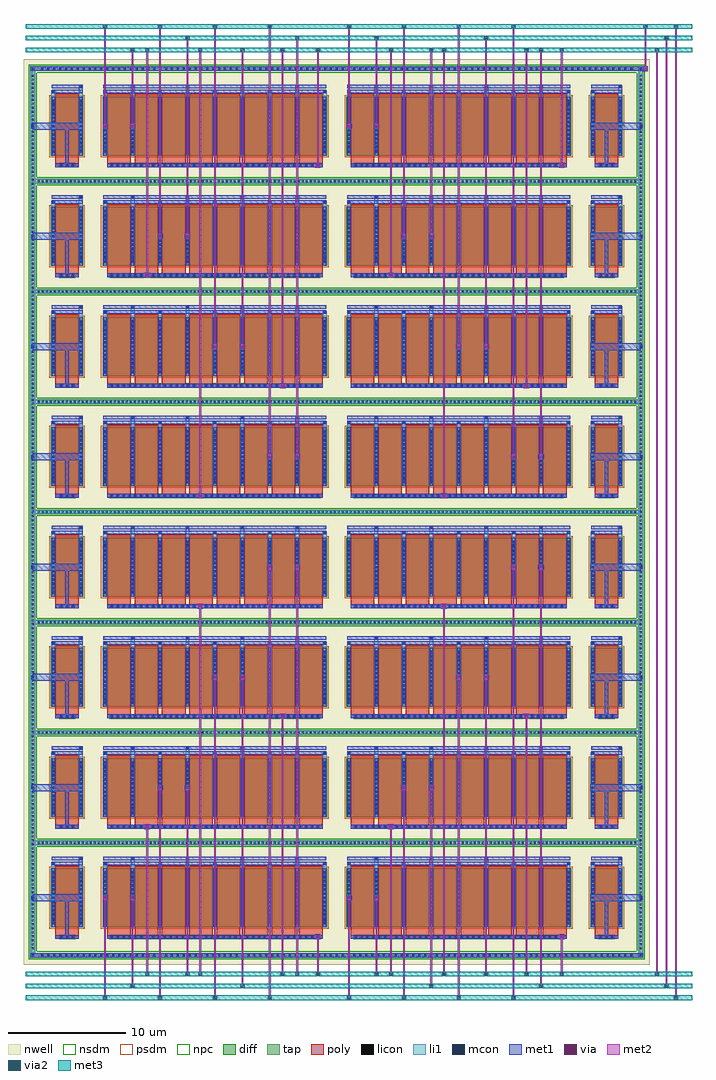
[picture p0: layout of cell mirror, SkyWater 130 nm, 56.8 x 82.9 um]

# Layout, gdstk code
import gdstk
lib = gdstk.Library(unit=1e-6, precision=5e-09)
def R(c, l, rs):  # rectangles x0, y0, x1, y1
    for r in rs: c.add(gdstk.rectangle(r[:2], r[2:], *l))
def A(c, l, x, y, w, h, nx, ny, dx, dy):  # array of equal rectangles
    R(c, l, [(x+i*dx, y+j*dy, x+i*dx+w, y+j*dy+h) for i in range(nx) for j in range(ny)])
def P(c, l, *ps):  # polygons
    for p in ps: c.add(gdstk.Polygon(p, *l))
nwell = (64, 20)
diff = (65, 20)
tap = (65, 44)
poly = (66, 20)
licon = (66, 44)
li1 = (67, 20)
mcon = (67, 44)
met1 = (68, 20)
via = (68, 44)
met2 = (69, 20)
via2 = (69, 44)
met3 = (70, 20)
nsdm = (93, 44)
psdm = (94, 20)
npc = (95, 20)

unnamed_e09b1c34 = lib.new_cell('Unnamed_e09b1c34')
R(unnamed_e09b1c34, nwell, [(-9.855,-3.68,9.855,3.685)])
R(unnamed_e09b1c34, diff, [(-9.545,-2.5,9.545,2.5)])
A(unnamed_e09b1c34, poly, -8.915, -3.48, 0.33, 0.33, 36, 1, 0.5, 0)
A(unnamed_e09b1c34, poly, -9.155, -3.15, 2, 0.4, 8, 1, 2.33, 0)
A(unnamed_e09b1c34, poly, -9.155, -2.75, 2, 5.5, 8, 1, 2.33, 0)
R(unnamed_e09b1c34, poly, [(-9.155,-3.48,9.155,-3.15)])
A(unnamed_e09b1c34, licon, -8.835, -3.4, 0.17, 0.17, 36, 1, 0.5, 0)
A(unnamed_e09b1c34, licon, -9.405, -2.125, 0.17, 0.17, 9, 13, 2.33, 0.34)
A(unnamed_e09b1c34, li1, -8.915, -3.48, 0.33, 0.33, 36, 1, 0.5, 0)
A(unnamed_e09b1c34, li1, -9.485, -2.5, 0.33, 5, 9, 1, 2.33, 0)
A(unnamed_e09b1c34, li1, -9.405, -2.245, 0.17, 0.17, 9, 13, 2.33, 0.36)
A(unnamed_e09b1c34, li1, -9.405, -2.245, 0.17, 4.49, 9, 1, 2.33, 0)
A(unnamed_e09b1c34, li1, -9.485, -2.205, 0.33, 0.33, 9, 13, 2.33, 0.34)
A(unnamed_e09b1c34, li1, -9.485, 2.5, 0.33, 0.515, 5, 1, 4.66, 0)
A(unnamed_e09b1c34, li1, -7.155, 2.5, 0.33, 0.945, 4, 1, 4.66, 0)
A(unnamed_e09b1c34, li1, -9.405, 2.845, 0.17, 0.17, 5, 1, 4.66, 0)
A(unnamed_e09b1c34, li1, -7.075, 3.275, 0.17, 0.17, 4, 1, 4.66, 0)
A(unnamed_e09b1c34, mcon, -8.835, -3.4, 0.17, 0.17, 36, 1, 0.5, 0)
A(unnamed_e09b1c34, mcon, -9.405, -2.245, 0.17, 0.17, 9, 13, 2.33, 0.36)
A(unnamed_e09b1c34, mcon, -9.405, 2.845, 0.17, 0.17, 5, 1, 4.66, 0)
A(unnamed_e09b1c34, mcon, -7.075, 3.275, 0.17, 0.17, 4, 1, 4.66, 0)
A(unnamed_e09b1c34, met1, -8.895, -3.46, 0.29, 0.29, 36, 1, 0.5, 0)
A(unnamed_e09b1c34, met1, -9.465, -2.5, 0.29, 5, 9, 1, 2.33, 0)
A(unnamed_e09b1c34, met1, -9.465, -2.305, 0.29, 0.29, 9, 13, 2.33, 0.36)
A(unnamed_e09b1c34, met1, -9.465, 2.785, 0.29, 0.29, 5, 1, 4.66, 0)
A(unnamed_e09b1c34, met1, -7.135, 3.215, 0.29, 0.29, 4, 1, 4.66, 0)
R(unnamed_e09b1c34, met1, [(-9.155,-3.48,9.155,-3.15), (-9.465,2.785,9.465,3.075), (-9.465,3.215,9.465,3.505)])
R(unnamed_e09b1c34, psdm, [(-9.675,-2.63,9.675,2.63)])
A(unnamed_e09b1c34, npc, -8.935, -3.5, 0.37, 0.37, 36, 1, 0.5, 0)
R(unnamed_e09b1c34, npc, [(-8.935,-3.5,-8.065,-3.13), (-8.935,-3.5,-8.065,-3.13), (-8.435,-3.5,-7.565,-3.13), (-8.435,-3.5,-7.565,-3.13), (-7.935,-3.5,-7.065,-3.13), (-7.935,-3.5,-7.065,-3.13), (-7.435,-3.5,-6.565,-3.13), (-7.435,-3.5,-6.565,-3.13), (-6.935,-3.5,-6.065,-3.13), (-6.935,-3.5,-6.065,-3.13), (-6.435,-3.5,-5.565,-3.13), (-6.435,-3.5,-5.565,-3.13), (-5.935,-3.5,-5.065,-3.13), (-5.935,-3.5,-5.065,-3.13), (-5.435,-3.5,-4.565,-3.13), (-5.435,-3.5,-4.565,-3.13), (-4.935,-3.5,-4.065,-3.13), (-4.935,-3.5,-4.065,-3.13), (-4.435,-3.5,-3.565,-3.13), (-4.435,-3.5,-3.565,-3.13), (-3.935,-3.5,-3.065,-3.13), (-3.935,-3.5,-3.065,-3.13), (-3.435,-3.5,-2.565,-3.13), (-3.435,-3.5,-2.565,-3.13), (-2.935,-3.5,-2.065,-3.13), (-2.935,-3.5,-2.065,-3.13), (-2.435,-3.5,-1.565,-3.13), (-2.435,-3.5,-1.565,-3.13), (-1.935,-3.5,-1.065,-3.13), (-1.935,-3.5,-1.065,-3.13), (-1.435,-3.5,-0.565,-3.13), (-1.435,-3.5,-0.565,-3.13), (-0.935,-3.5,-0.065,-3.13), (-0.935,-3.5,-0.065,-3.13), (-0.435,-3.5,0.435,-3.13), (-0.435,-3.5,0.435,-3.13), (0.065,-3.5,0.935,-3.13), (0.065,-3.5,0.935,-3.13), (0.565,-3.5,1.435,-3.13), (0.565,-3.5,1.435,-3.13), (1.065,-3.5,1.935,-3.13), (1.065,-3.5,1.935,-3.13), (1.565,-3.5,2.435,-3.13), (1.565,-3.5,2.435,-3.13), (2.065,-3.5,2.935,-3.13), (2.065,-3.5,2.935,-3.13), (2.565,-3.5,3.435,-3.13), (2.565,-3.5,3.435,-3.13), (3.065,-3.5,3.935,-3.13), (3.065,-3.5,3.935,-3.13), (3.565,-3.5,4.435,-3.13), (3.565,-3.5,4.435,-3.13), (4.065,-3.5,4.935,-3.13), (4.065,-3.5,4.935,-3.13), (4.565,-3.5,5.435,-3.13), (4.565,-3.5,5.435,-3.13), (5.065,-3.5,5.935,-3.13), (5.065,-3.5,5.935,-3.13), (5.565,-3.5,6.435,-3.13), (5.565,-3.5,6.435,-3.13), (6.065,-3.5,6.935,-3.13), (6.065,-3.5,6.935,-3.13), (6.565,-3.5,7.435,-3.13), (6.565,-3.5,7.435,-3.13), (7.065,-3.5,7.935,-3.13), (7.065,-3.5,7.935,-3.13), (7.565,-3.5,8.435,-3.13), (7.565,-3.5,8.435,-3.13), (8.065,-3.5,8.935,-3.13), (8.065,-3.5,8.935,-3.13)])

unnamed_fc9d1d9a = lib.new_cell('Unnamed_fc9d1d9a')
R(unnamed_fc9d1d9a, nwell, [(-1.7,-3.68,1.7,3.685)])
R(unnamed_fc9d1d9a, diff, [(-1.39,-2.5,1.39,2.5)])
A(unnamed_fc9d1d9a, poly, -0.665, -3.48, 0.33, 0.33, 3, 1, 0.5, 0)
R(unnamed_fc9d1d9a, poly, [(-1,-3.48,1,-3.15), (-1,-3.15,1,-2.75), (-1,-2.75,1,2.75)])
A(unnamed_fc9d1d9a, licon, -0.585, -3.4, 0.17, 0.17, 3, 1, 0.5, 0)
A(unnamed_fc9d1d9a, licon, -1.25, -2.125, 0.17, 0.17, 1, 13, 0, 0.34)
A(unnamed_fc9d1d9a, licon, 1.08, -2.125, 0.17, 0.17, 1, 13, 0, 0.34)
A(unnamed_fc9d1d9a, li1, -0.665, -3.48, 0.33, 0.33, 3, 1, 0.5, 0)
A(unnamed_fc9d1d9a, li1, -1.25, -2.245, 0.17, 0.17, 1, 13, 0, 0.36)
A(unnamed_fc9d1d9a, li1, 1.08, -2.245, 0.17, 0.17, 1, 13, 0, 0.36)
A(unnamed_fc9d1d9a, li1, -1.33, -2.205, 0.33, 0.33, 1, 13, 0, 0.34)
A(unnamed_fc9d1d9a, li1, 1, -2.205, 0.33, 0.33, 1, 13, 0, 0.34)
R(unnamed_fc9d1d9a, li1, [(-1.33,-2.5,-1,2.5), (1,-2.5,1.33,2.5), (-1.25,-2.245,-1.08,2.245), (1.08,-2.245,1.25,2.245), (-1.33,2.5,-1,3.015), (1,2.5,1.33,3.445), (-1.25,2.845,-1.08,3.015), (1.08,3.275,1.25,3.445)])
A(unnamed_fc9d1d9a, mcon, -0.585, -3.4, 0.17, 0.17, 3, 1, 0.5, 0)
A(unnamed_fc9d1d9a, mcon, -1.25, -2.245, 0.17, 0.17, 1, 13, 0, 0.36)
A(unnamed_fc9d1d9a, mcon, 1.08, -2.245, 0.17, 0.17, 1, 13, 0, 0.36)
R(unnamed_fc9d1d9a, mcon, [(-1.25,2.845,-1.08,3.015), (1.08,3.275,1.25,3.445)])
A(unnamed_fc9d1d9a, met1, -0.645, -3.46, 0.29, 0.29, 3, 1, 0.5, 0)
A(unnamed_fc9d1d9a, met1, -1.31, -2.305, 0.29, 0.29, 1, 13, 0, 0.36)
A(unnamed_fc9d1d9a, met1, 1.02, -2.305, 0.29, 0.29, 1, 13, 0, 0.36)
R(unnamed_fc9d1d9a, met1, [(-1,-3.48,1,-3.15), (-1.31,-2.5,-1.02,2.5), (1.02,-2.5,1.31,2.5), (-1.31,2.785,-1.02,3.075), (-1.31,2.785,1.31,3.075), (-1.31,3.215,1.31,3.505), (1.02,3.215,1.31,3.505)])
R(unnamed_fc9d1d9a, psdm, [(-1.52,-2.63,1.52,2.63)])
A(unnamed_fc9d1d9a, npc, -0.685, -3.5, 0.37, 0.37, 3, 1, 0.5, 0)
R(unnamed_fc9d1d9a, npc, [(-0.685,-3.5,0.185,-3.13), (-0.685,-3.5,0.185,-3.13), (-0.185,-3.5,0.685,-3.13), (-0.185,-3.5,0.685,-3.13)])

unnamed_3b2aca07_1 = lib.new_cell('Unnamed_3b2aca07$1')
R(unnamed_3b2aca07_1, nwell, [(-26.2,-38.05,26.2,38.05)])
A(unnamed_3b2aca07_1, diff, -25.205, -37.87, 0.41, 0.41, 101, 2, 0.5, 75.33)
A(unnamed_3b2aca07_1, diff, -26.02, -37.265, 0.41, 0.41, 1, 219, 0, 0.34)
A(unnamed_3b2aca07_1, diff, 25.61, -37.265, 0.41, 0.41, 1, 219, 0, 0.34)
R(unnamed_3b2aca07_1, diff, [(-25.205,-37.87,25.205,-37.46), (-26.02,-37.265,-25.61,37.265), (25.61,-37.265,26.02,37.265), (-25.205,37.46,25.205,37.87)])
P(unnamed_3b2aca07_1, diff, [(26.02,37.87),(-26.02,37.87),(-26.02,-37.46),(-25.61,-37.46),(-25.61,37.46),(25.61,37.46),(25.61,-37.46),(-25.61,-37.46),(-26.02,-37.46),(-26.02,-37.87),(26.02,-37.87)])
A(unnamed_3b2aca07_1, licon, -25.085, -37.75, 0.17, 0.17, 101, 2, 0.5, 75.33)
A(unnamed_3b2aca07_1, licon, -25.9, -37.145, 0.17, 0.17, 1, 219, 0, 0.34)
A(unnamed_3b2aca07_1, licon, 25.73, -37.145, 0.17, 0.17, 1, 219, 0, 0.34)
A(unnamed_3b2aca07_1, li1, -25.165, -37.83, 0.33, 0.33, 101, 2, 0.5, 75.33)
A(unnamed_3b2aca07_1, li1, -25.98, -37.225, 0.33, 0.33, 1, 219, 0, 0.34)
A(unnamed_3b2aca07_1, li1, 25.65, -37.225, 0.33, 0.33, 1, 219, 0, 0.34)
R(unnamed_3b2aca07_1, li1, [(-26.02,-37.87,-25.61,-37.46), (25.61,-37.87,26.02,-37.46), (-25.165,-37.83,25.165,-37.5), (-25.9,-37.75,-25.73,-37.58), (-25.9,-37.75,-25.73,-37.58), (25.73,-37.75,25.9,-37.58), (25.73,-37.75,25.9,-37.58), (-26.02,-37.46,-25.61,37.46), (25.61,-37.46,26.02,37.46), (-26.02,37.46,-25.61,37.87), (25.61,37.46,26.02,37.87), (-25.165,37.5,25.165,37.83), (-25.9,37.58,-25.73,37.75), (-25.9,37.58,-25.73,37.75), (25.73,37.58,25.9,37.75), (25.73,37.58,25.9,37.75)])
A(unnamed_3b2aca07_1, mcon, -25.085, -37.75, 0.17, 0.17, 101, 2, 0.5, 75.33)
R(unnamed_3b2aca07_1, mcon, [(-25.9,-37.75,-25.73,-37.58), (25.73,-37.75,25.9,-37.58), (-25.9,37.58,-25.73,37.75), (25.73,37.58,25.9,37.75)])
A(unnamed_3b2aca07_1, met1, -25.145, -37.81, 0.29, 0.29, 101, 2, 0.5, 75.33)
R(unnamed_3b2aca07_1, met1, [(-26.02,-37.87,-25.61,-37.46), (-26.02,-37.87,-25.61,-37.46), (-25.61,-37.87,25.61,-37.46), (25.61,-37.87,26.02,-37.46), (25.61,-37.87,26.02,-37.46), (-25.96,-37.81,-25.67,-37.52), (25.67,-37.81,25.96,-37.52), (-26.02,37.46,-25.61,37.87), (-26.02,37.46,-25.61,37.87), (-25.61,37.46,25.61,37.87), (25.61,37.46,26.02,37.87), (25.61,37.46,26.02,37.87), (-25.96,37.52,-25.67,37.81), (25.67,37.52,25.96,37.81)])
P(unnamed_3b2aca07_1, nsdm, [(26.15,38),(-26.15,38),(-26.15,-37.33),(-25.48,-37.33),(-25.48,37.33),(25.48,37.33),(25.48,-37.33),(-25.48,-37.33),(-26.15,-37.33),(-26.15,-38),(26.15,-38)])

via_stack_9ce972bd_8 = lib.new_cell('via_stack_9ce972bd$8')
R(via_stack_9ce972bd_8, li1, [(-0.085,-0.085,0.085,0.085)])
R(via_stack_9ce972bd_8, mcon, [(-0.085,-0.085,0.085,0.085)])
R(via_stack_9ce972bd_8, met1, [(-0.145,-0.145,0.145,0.145)])

via_stack_9ce972bd_9 = lib.new_cell('via_stack_9ce972bd$9')
R(via_stack_9ce972bd_9, li1, [(-0.085,-0.085,0.085,0.085)])
R(via_stack_9ce972bd_9, mcon, [(-0.085,-0.085,0.085,0.085)])
R(via_stack_9ce972bd_9, met1, [(-0.145,-0.145,0.145,0.145)])

via_stack_9ce972bd_10 = lib.new_cell('via_stack_9ce972bd$10')
R(via_stack_9ce972bd_10, li1, [(-0.085,-0.085,0.085,0.085)])
R(via_stack_9ce972bd_10, mcon, [(-0.085,-0.085,0.085,0.085)])
R(via_stack_9ce972bd_10, met1, [(-0.145,-0.145,0.145,0.145)])

via_stack_9ce972bd_11 = lib.new_cell('via_stack_9ce972bd$11')
R(via_stack_9ce972bd_11, li1, [(-0.085,-0.085,0.085,0.085)])
R(via_stack_9ce972bd_11, mcon, [(-0.085,-0.085,0.085,0.085)])
R(via_stack_9ce972bd_11, met1, [(-0.145,-0.145,0.145,0.145)])

via_stack_9ce972bd_12 = lib.new_cell('via_stack_9ce972bd$12')
R(via_stack_9ce972bd_12, li1, [(-0.085,-0.085,0.085,0.085)])
R(via_stack_9ce972bd_12, mcon, [(-0.085,-0.085,0.085,0.085)])
R(via_stack_9ce972bd_12, met1, [(-0.145,-0.145,0.145,0.145)])

via_stack_9ce972bd_13 = lib.new_cell('via_stack_9ce972bd$13')
R(via_stack_9ce972bd_13, li1, [(-0.085,-0.085,0.085,0.085)])
R(via_stack_9ce972bd_13, mcon, [(-0.085,-0.085,0.085,0.085)])
R(via_stack_9ce972bd_13, met1, [(-0.145,-0.145,0.145,0.145)])

via_stack_9ce972bd_14 = lib.new_cell('via_stack_9ce972bd$14')
R(via_stack_9ce972bd_14, li1, [(-0.085,-0.085,0.085,0.085)])
R(via_stack_9ce972bd_14, mcon, [(-0.085,-0.085,0.085,0.085)])
R(via_stack_9ce972bd_14, met1, [(-0.145,-0.145,0.145,0.145)])

via_stack_9ce972bd_15 = lib.new_cell('via_stack_9ce972bd$15')
R(via_stack_9ce972bd_15, li1, [(-0.085,-0.085,0.085,0.085)])
R(via_stack_9ce972bd_15, mcon, [(-0.085,-0.085,0.085,0.085)])
R(via_stack_9ce972bd_15, met1, [(-0.145,-0.145,0.145,0.145)])

via_stack_9ce972bd_16 = lib.new_cell('via_stack_9ce972bd$16')
R(via_stack_9ce972bd_16, li1, [(-0.085,-0.085,0.085,0.085)])
R(via_stack_9ce972bd_16, mcon, [(-0.085,-0.085,0.085,0.085)])
R(via_stack_9ce972bd_16, met1, [(-0.145,-0.145,0.145,0.145)])

via_stack_9ce972bd_17 = lib.new_cell('via_stack_9ce972bd$17')
R(via_stack_9ce972bd_17, li1, [(-0.085,-0.085,0.085,0.085)])
R(via_stack_9ce972bd_17, mcon, [(-0.085,-0.085,0.085,0.085)])
R(via_stack_9ce972bd_17, met1, [(-0.145,-0.145,0.145,0.145)])

via_stack_9ce972bd_18 = lib.new_cell('via_stack_9ce972bd$18')
R(via_stack_9ce972bd_18, li1, [(-0.085,-0.085,0.085,0.085)])
R(via_stack_9ce972bd_18, mcon, [(-0.085,-0.085,0.085,0.085)])
R(via_stack_9ce972bd_18, met1, [(-0.145,-0.145,0.145,0.145)])

via_stack_9ce972bd_19 = lib.new_cell('via_stack_9ce972bd$19')
R(via_stack_9ce972bd_19, li1, [(-0.085,-0.085,0.085,0.085)])
R(via_stack_9ce972bd_19, mcon, [(-0.085,-0.085,0.085,0.085)])
R(via_stack_9ce972bd_19, met1, [(-0.145,-0.145,0.145,0.145)])

via_stack_9ce972bd_20 = lib.new_cell('via_stack_9ce972bd$20')
R(via_stack_9ce972bd_20, li1, [(-0.085,-0.085,0.085,0.085)])
R(via_stack_9ce972bd_20, mcon, [(-0.085,-0.085,0.085,0.085)])
R(via_stack_9ce972bd_20, met1, [(-0.145,-0.145,0.145,0.145)])

via_stack_9ce972bd_21 = lib.new_cell('via_stack_9ce972bd$21')
R(via_stack_9ce972bd_21, li1, [(-0.085,-0.085,0.085,0.085)])
R(via_stack_9ce972bd_21, mcon, [(-0.085,-0.085,0.085,0.085)])
R(via_stack_9ce972bd_21, met1, [(-0.145,-0.145,0.145,0.145)])

via_stack_9ce972bd_22 = lib.new_cell('via_stack_9ce972bd$22')
R(via_stack_9ce972bd_22, li1, [(-0.085,-0.085,0.085,0.085)])
R(via_stack_9ce972bd_22, mcon, [(-0.085,-0.085,0.085,0.085)])
R(via_stack_9ce972bd_22, met1, [(-0.145,-0.145,0.145,0.145)])

via_stack_9ce972bd_23 = lib.new_cell('via_stack_9ce972bd$23')
R(via_stack_9ce972bd_23, li1, [(-0.085,-0.085,0.085,0.085)])
R(via_stack_9ce972bd_23, mcon, [(-0.085,-0.085,0.085,0.085)])
R(via_stack_9ce972bd_23, met1, [(-0.145,-0.145,0.145,0.145)])

via_stack_22ee024c = lib.new_cell('via_stack_22ee024c')
R(via_stack_22ee024c, met1, [(-0.215,-0.215,0.215,0.215)])
R(via_stack_22ee024c, via, [(-0.075,-0.075,0.075,0.075)])
R(via_stack_22ee024c, met2, [(-0.165,-0.165,0.165,0.165)])

via_stack_22ee024c_1 = lib.new_cell('via_stack_22ee024c$1')
R(via_stack_22ee024c_1, met1, [(-0.215,-0.215,0.215,0.215)])
R(via_stack_22ee024c_1, via, [(-0.075,-0.075,0.075,0.075)])
R(via_stack_22ee024c_1, met2, [(-0.165,-0.165,0.165,0.165)])

via_stack_22ee024c_2 = lib.new_cell('via_stack_22ee024c$2')
R(via_stack_22ee024c_2, met1, [(-0.215,-0.215,0.215,0.215)])
R(via_stack_22ee024c_2, via, [(-0.075,-0.075,0.075,0.075)])
R(via_stack_22ee024c_2, met2, [(-0.165,-0.165,0.165,0.165)])

via_stack_22ee024c_3 = lib.new_cell('via_stack_22ee024c$3')
R(via_stack_22ee024c_3, met1, [(-0.215,-0.215,0.215,0.215)])
R(via_stack_22ee024c_3, via, [(-0.075,-0.075,0.075,0.075)])
R(via_stack_22ee024c_3, met2, [(-0.165,-0.165,0.165,0.165)])

via_stack_22ee024c_4 = lib.new_cell('via_stack_22ee024c$4')
R(via_stack_22ee024c_4, met1, [(-0.215,-0.215,0.215,0.215)])
R(via_stack_22ee024c_4, via, [(-0.075,-0.075,0.075,0.075)])
R(via_stack_22ee024c_4, met2, [(-0.165,-0.165,0.165,0.165)])

via_stack_22ee024c_5 = lib.new_cell('via_stack_22ee024c$5')
R(via_stack_22ee024c_5, met1, [(-0.215,-0.215,0.215,0.215)])
R(via_stack_22ee024c_5, via, [(-0.075,-0.075,0.075,0.075)])
R(via_stack_22ee024c_5, met2, [(-0.165,-0.165,0.165,0.165)])

via_stack_22ee024c_6 = lib.new_cell('via_stack_22ee024c$6')
R(via_stack_22ee024c_6, met1, [(-0.215,-0.215,0.215,0.215)])
R(via_stack_22ee024c_6, via, [(-0.075,-0.075,0.075,0.075)])
R(via_stack_22ee024c_6, met2, [(-0.165,-0.165,0.165,0.165)])

via_stack_22ee024c_7 = lib.new_cell('via_stack_22ee024c$7')
R(via_stack_22ee024c_7, met1, [(-0.215,-0.215,0.215,0.215)])
R(via_stack_22ee024c_7, via, [(-0.075,-0.075,0.075,0.075)])
R(via_stack_22ee024c_7, met2, [(-0.165,-0.165,0.165,0.165)])

via_stack_22ee024c_8 = lib.new_cell('via_stack_22ee024c$8')
R(via_stack_22ee024c_8, met1, [(-0.215,-0.215,0.215,0.215)])
R(via_stack_22ee024c_8, via, [(-0.075,-0.075,0.075,0.075)])
R(via_stack_22ee024c_8, met2, [(-0.165,-0.165,0.165,0.165)])

via_stack_22ee024c_9 = lib.new_cell('via_stack_22ee024c$9')
R(via_stack_22ee024c_9, met1, [(-0.215,-0.215,0.215,0.215)])
R(via_stack_22ee024c_9, via, [(-0.075,-0.075,0.075,0.075)])
R(via_stack_22ee024c_9, met2, [(-0.165,-0.165,0.165,0.165)])

via_stack_22ee024c_10 = lib.new_cell('via_stack_22ee024c$10')
R(via_stack_22ee024c_10, met1, [(-0.215,-0.215,0.215,0.215)])
R(via_stack_22ee024c_10, via, [(-0.075,-0.075,0.075,0.075)])
R(via_stack_22ee024c_10, met2, [(-0.165,-0.165,0.165,0.165)])

via_stack_22ee024c_11 = lib.new_cell('via_stack_22ee024c$11')
R(via_stack_22ee024c_11, met1, [(-0.215,-0.215,0.215,0.215)])
R(via_stack_22ee024c_11, via, [(-0.075,-0.075,0.075,0.075)])
R(via_stack_22ee024c_11, met2, [(-0.165,-0.165,0.165,0.165)])

via_stack_22ee024c_12 = lib.new_cell('via_stack_22ee024c$12')
R(via_stack_22ee024c_12, met1, [(-0.215,-0.215,0.215,0.215)])
R(via_stack_22ee024c_12, via, [(-0.075,-0.075,0.075,0.075)])
R(via_stack_22ee024c_12, met2, [(-0.165,-0.165,0.165,0.165)])

via_stack_22ee024c_13 = lib.new_cell('via_stack_22ee024c$13')
R(via_stack_22ee024c_13, met1, [(-0.215,-0.215,0.215,0.215)])
R(via_stack_22ee024c_13, via, [(-0.075,-0.075,0.075,0.075)])
R(via_stack_22ee024c_13, met2, [(-0.165,-0.165,0.165,0.165)])

via_stack_22ee024c_14 = lib.new_cell('via_stack_22ee024c$14')
R(via_stack_22ee024c_14, met1, [(-0.215,-0.215,0.215,0.215)])
R(via_stack_22ee024c_14, via, [(-0.075,-0.075,0.075,0.075)])
R(via_stack_22ee024c_14, met2, [(-0.165,-0.165,0.165,0.165)])

via_stack_22ee024c_15 = lib.new_cell('via_stack_22ee024c$15')
R(via_stack_22ee024c_15, met1, [(-0.215,-0.215,0.215,0.215)])
R(via_stack_22ee024c_15, via, [(-0.075,-0.075,0.075,0.075)])
R(via_stack_22ee024c_15, met2, [(-0.165,-0.165,0.165,0.165)])

via_stack_22ee024c_16 = lib.new_cell('via_stack_22ee024c$16')
R(via_stack_22ee024c_16, met1, [(-0.215,-0.215,0.215,0.215)])
R(via_stack_22ee024c_16, via, [(-0.075,-0.075,0.075,0.075)])
R(via_stack_22ee024c_16, met2, [(-0.165,-0.165,0.165,0.165)])

via_stack_22ee024c_17 = lib.new_cell('via_stack_22ee024c$17')
R(via_stack_22ee024c_17, met1, [(-0.215,-0.215,0.215,0.215)])
R(via_stack_22ee024c_17, via, [(-0.075,-0.075,0.075,0.075)])
R(via_stack_22ee024c_17, met2, [(-0.165,-0.165,0.165,0.165)])

via_stack_22ee024c_18 = lib.new_cell('via_stack_22ee024c$18')
R(via_stack_22ee024c_18, met1, [(-0.215,-0.215,0.215,0.215)])
R(via_stack_22ee024c_18, via, [(-0.075,-0.075,0.075,0.075)])
R(via_stack_22ee024c_18, met2, [(-0.165,-0.165,0.165,0.165)])

via_stack_22ee024c_19 = lib.new_cell('via_stack_22ee024c$19')
R(via_stack_22ee024c_19, met1, [(-0.215,-0.215,0.215,0.215)])
R(via_stack_22ee024c_19, via, [(-0.075,-0.075,0.075,0.075)])
R(via_stack_22ee024c_19, met2, [(-0.165,-0.165,0.165,0.165)])

via_stack_22ee024c_20 = lib.new_cell('via_stack_22ee024c$20')
R(via_stack_22ee024c_20, met1, [(-0.215,-0.215,0.215,0.215)])
R(via_stack_22ee024c_20, via, [(-0.075,-0.075,0.075,0.075)])
R(via_stack_22ee024c_20, met2, [(-0.165,-0.165,0.165,0.165)])

via_stack_22ee024c_21 = lib.new_cell('via_stack_22ee024c$21')
R(via_stack_22ee024c_21, met1, [(-0.215,-0.215,0.215,0.215)])
R(via_stack_22ee024c_21, via, [(-0.075,-0.075,0.075,0.075)])
R(via_stack_22ee024c_21, met2, [(-0.165,-0.165,0.165,0.165)])

via_stack_22ee024c_22 = lib.new_cell('via_stack_22ee024c$22')
R(via_stack_22ee024c_22, met1, [(-0.215,-0.215,0.215,0.215)])
R(via_stack_22ee024c_22, via, [(-0.075,-0.075,0.075,0.075)])
R(via_stack_22ee024c_22, met2, [(-0.165,-0.165,0.165,0.165)])

via_stack_22ee024c_23 = lib.new_cell('via_stack_22ee024c$23')
R(via_stack_22ee024c_23, met1, [(-0.215,-0.215,0.215,0.215)])
R(via_stack_22ee024c_23, via, [(-0.075,-0.075,0.075,0.075)])
R(via_stack_22ee024c_23, met2, [(-0.165,-0.165,0.165,0.165)])

via_stack_22ee024c_24 = lib.new_cell('via_stack_22ee024c$24')
R(via_stack_22ee024c_24, met1, [(-0.215,-0.215,0.215,0.215)])
R(via_stack_22ee024c_24, via, [(-0.075,-0.075,0.075,0.075)])
R(via_stack_22ee024c_24, met2, [(-0.165,-0.165,0.165,0.165)])

via_stack_22ee024c_25 = lib.new_cell('via_stack_22ee024c$25')
R(via_stack_22ee024c_25, met1, [(-0.215,-0.215,0.215,0.215)])
R(via_stack_22ee024c_25, via, [(-0.075,-0.075,0.075,0.075)])
R(via_stack_22ee024c_25, met2, [(-0.165,-0.165,0.165,0.165)])

via_stack_22ee024c_26 = lib.new_cell('via_stack_22ee024c$26')
R(via_stack_22ee024c_26, met1, [(-0.215,-0.215,0.215,0.215)])
R(via_stack_22ee024c_26, via, [(-0.075,-0.075,0.075,0.075)])
R(via_stack_22ee024c_26, met2, [(-0.165,-0.165,0.165,0.165)])

via_stack_22ee024c_27 = lib.new_cell('via_stack_22ee024c$27')
R(via_stack_22ee024c_27, met1, [(-0.215,-0.215,0.215,0.215)])
R(via_stack_22ee024c_27, via, [(-0.075,-0.075,0.075,0.075)])
R(via_stack_22ee024c_27, met2, [(-0.165,-0.165,0.165,0.165)])

via_stack_22ee024c_28 = lib.new_cell('via_stack_22ee024c$28')
R(via_stack_22ee024c_28, met1, [(-0.215,-0.215,0.215,0.215)])
R(via_stack_22ee024c_28, via, [(-0.075,-0.075,0.075,0.075)])
R(via_stack_22ee024c_28, met2, [(-0.165,-0.165,0.165,0.165)])

via_stack_22ee024c_29 = lib.new_cell('via_stack_22ee024c$29')
R(via_stack_22ee024c_29, met1, [(-0.215,-0.215,0.215,0.215)])
R(via_stack_22ee024c_29, via, [(-0.075,-0.075,0.075,0.075)])
R(via_stack_22ee024c_29, met2, [(-0.165,-0.165,0.165,0.165)])

via_stack_22ee024c_30 = lib.new_cell('via_stack_22ee024c$30')
R(via_stack_22ee024c_30, met1, [(-0.215,-0.215,0.215,0.215)])
R(via_stack_22ee024c_30, via, [(-0.075,-0.075,0.075,0.075)])
R(via_stack_22ee024c_30, met2, [(-0.165,-0.165,0.165,0.165)])

via_stack_22ee024c_31 = lib.new_cell('via_stack_22ee024c$31')
R(via_stack_22ee024c_31, met1, [(-0.215,-0.215,0.215,0.215)])
R(via_stack_22ee024c_31, via, [(-0.075,-0.075,0.075,0.075)])
R(via_stack_22ee024c_31, met2, [(-0.165,-0.165,0.165,0.165)])

via_stack_22ee024c_32 = lib.new_cell('via_stack_22ee024c$32')
R(via_stack_22ee024c_32, met1, [(-0.215,-0.215,0.215,0.215)])
R(via_stack_22ee024c_32, via, [(-0.075,-0.075,0.075,0.075)])
R(via_stack_22ee024c_32, met2, [(-0.165,-0.165,0.165,0.165)])

via_stack_22ee024c_33 = lib.new_cell('via_stack_22ee024c$33')
R(via_stack_22ee024c_33, met1, [(-0.215,-0.215,0.215,0.215)])
R(via_stack_22ee024c_33, via, [(-0.075,-0.075,0.075,0.075)])
R(via_stack_22ee024c_33, met2, [(-0.165,-0.165,0.165,0.165)])

via_stack_22ee024c_34 = lib.new_cell('via_stack_22ee024c$34')
R(via_stack_22ee024c_34, met1, [(-0.215,-0.215,0.215,0.215)])
R(via_stack_22ee024c_34, via, [(-0.075,-0.075,0.075,0.075)])
R(via_stack_22ee024c_34, met2, [(-0.165,-0.165,0.165,0.165)])

via_stack_22ee024c_35 = lib.new_cell('via_stack_22ee024c$35')
R(via_stack_22ee024c_35, met1, [(-0.215,-0.215,0.215,0.215)])
R(via_stack_22ee024c_35, via, [(-0.075,-0.075,0.075,0.075)])
R(via_stack_22ee024c_35, met2, [(-0.165,-0.165,0.165,0.165)])

via_stack_22ee024c_36 = lib.new_cell('via_stack_22ee024c$36')
R(via_stack_22ee024c_36, met1, [(-0.215,-0.215,0.215,0.215)])
R(via_stack_22ee024c_36, via, [(-0.075,-0.075,0.075,0.075)])
R(via_stack_22ee024c_36, met2, [(-0.165,-0.165,0.165,0.165)])

via_stack_22ee024c_37 = lib.new_cell('via_stack_22ee024c$37')
R(via_stack_22ee024c_37, met1, [(-0.215,-0.215,0.215,0.215)])
R(via_stack_22ee024c_37, via, [(-0.075,-0.075,0.075,0.075)])
R(via_stack_22ee024c_37, met2, [(-0.165,-0.165,0.165,0.165)])

via_stack_22ee024c_38 = lib.new_cell('via_stack_22ee024c$38')
R(via_stack_22ee024c_38, met1, [(-0.215,-0.215,0.215,0.215)])
R(via_stack_22ee024c_38, via, [(-0.075,-0.075,0.075,0.075)])
R(via_stack_22ee024c_38, met2, [(-0.165,-0.165,0.165,0.165)])

via_stack_22ee024c_39 = lib.new_cell('via_stack_22ee024c$39')
R(via_stack_22ee024c_39, met1, [(-0.215,-0.215,0.215,0.215)])
R(via_stack_22ee024c_39, via, [(-0.075,-0.075,0.075,0.075)])
R(via_stack_22ee024c_39, met2, [(-0.165,-0.165,0.165,0.165)])

via_stack_22ee024c_40 = lib.new_cell('via_stack_22ee024c$40')
R(via_stack_22ee024c_40, met1, [(-0.215,-0.215,0.215,0.215)])
R(via_stack_22ee024c_40, via, [(-0.075,-0.075,0.075,0.075)])
R(via_stack_22ee024c_40, met2, [(-0.165,-0.165,0.165,0.165)])

via_stack_22ee024c_41 = lib.new_cell('via_stack_22ee024c$41')
R(via_stack_22ee024c_41, met1, [(-0.215,-0.215,0.215,0.215)])
R(via_stack_22ee024c_41, via, [(-0.075,-0.075,0.075,0.075)])
R(via_stack_22ee024c_41, met2, [(-0.165,-0.165,0.165,0.165)])

via_stack_22ee024c_42 = lib.new_cell('via_stack_22ee024c$42')
R(via_stack_22ee024c_42, met1, [(-0.215,-0.215,0.215,0.215)])
R(via_stack_22ee024c_42, via, [(-0.075,-0.075,0.075,0.075)])
R(via_stack_22ee024c_42, met2, [(-0.165,-0.165,0.165,0.165)])

via_stack_22ee024c_43 = lib.new_cell('via_stack_22ee024c$43')
R(via_stack_22ee024c_43, met1, [(-0.215,-0.215,0.215,0.215)])
R(via_stack_22ee024c_43, via, [(-0.075,-0.075,0.075,0.075)])
R(via_stack_22ee024c_43, met2, [(-0.165,-0.165,0.165,0.165)])

via_stack_22ee024c_44 = lib.new_cell('via_stack_22ee024c$44')
R(via_stack_22ee024c_44, met1, [(-0.215,-0.215,0.215,0.215)])
R(via_stack_22ee024c_44, via, [(-0.075,-0.075,0.075,0.075)])
R(via_stack_22ee024c_44, met2, [(-0.165,-0.165,0.165,0.165)])

via_stack_22ee024c_45 = lib.new_cell('via_stack_22ee024c$45')
R(via_stack_22ee024c_45, met1, [(-0.215,-0.215,0.215,0.215)])
R(via_stack_22ee024c_45, via, [(-0.075,-0.075,0.075,0.075)])
R(via_stack_22ee024c_45, met2, [(-0.165,-0.165,0.165,0.165)])

via_stack_22ee024c_46 = lib.new_cell('via_stack_22ee024c$46')
R(via_stack_22ee024c_46, met1, [(-0.215,-0.215,0.215,0.215)])
R(via_stack_22ee024c_46, via, [(-0.075,-0.075,0.075,0.075)])
R(via_stack_22ee024c_46, met2, [(-0.165,-0.165,0.165,0.165)])

via_stack_22ee024c_47 = lib.new_cell('via_stack_22ee024c$47')
R(via_stack_22ee024c_47, met1, [(-0.215,-0.215,0.215,0.215)])
R(via_stack_22ee024c_47, via, [(-0.075,-0.075,0.075,0.075)])
R(via_stack_22ee024c_47, met2, [(-0.165,-0.165,0.165,0.165)])

via_stack_22ee024c_48 = lib.new_cell('via_stack_22ee024c$48')
R(via_stack_22ee024c_48, met1, [(-0.215,-0.215,0.215,0.215)])
R(via_stack_22ee024c_48, via, [(-0.075,-0.075,0.075,0.075)])
R(via_stack_22ee024c_48, met2, [(-0.165,-0.165,0.165,0.165)])

mirror = lib.new_cell('mirror')
R(mirror, nwell, [(-1.99,-74.91,51.21,1.99)])
A(mirror, tap, -1.205, -64.76, 51.63, 0.41, 1, 7, 0, 9.365)
A(mirror, licon, -0.805, -64.64, 0.17, 0.17, 150, 7, 0.34, 9.365)
A(mirror, li1, -1.205, -64.72, 51.63, 0.33, 1, 7, 0, 9.365)
A(mirror, met1, 1.55, -72.705, 0.3, 3.465, 1, 8, 0, 9.365)
A(mirror, met1, 47.37, -72.705, 0.3, 3.465, 1, 8, 0, 9.365)
A(mirror, met1, -1.205, -69.54, 4.27, 0.6, 1, 8, 0, 9.365)
A(mirror, met1, 46.155, -69.54, 4.27, 0.6, 1, 8, 0, 9.365)
A(mirror, met2, 4.75, -77.895, 0.37, 0.37, 4, 2, 4.66, 82.5)
A(mirror, met2, 25.46, -77.895, 0.37, 0.37, 4, 2, 4.66, 82.5)
R(mirror, met2, [(53.225,-77.895,53.595,-77.525), (4.865,-77.71,5.005,-69.24), (9.525,-77.71,9.665,-59.875), (14.185,-77.71,14.325,-50.51), (18.845,-77.71,18.985,-41.145), (25.575,-77.71,25.715,-69.24), (30.235,-77.71,30.375,-59.875), (34.895,-77.71,35.035,-50.51), (39.555,-77.71,39.695,-41.145), (53.34,-77.71,53.48,4.79), (7.08,-76.895,7.45,-76.525), (16.4,-76.895,16.77,-76.525), (32.45,-76.895,32.82,-76.525), (41.77,-76.895,42.14,-76.525), (52.425,-76.895,52.795,-76.525), (7.195,-76.71,7.335,-69.24), (16.515,-76.71,16.655,-50.51), (32.565,-76.71,32.705,-59.875), (41.885,-76.71,42.025,-41.145), (52.54,-76.71,52.68,3.79), (8.32,-75.895,8.69,-75.525), (11.74,-75.895,12.11,-75.525), (12.82,-75.895,13.19,-75.525), (19.82,-75.895,20.19,-75.525), (21.06,-75.895,21.43,-75.525), (22.82,-75.895,23.19,-75.525), (27.79,-75.895,28.16,-75.525), (29.03,-75.895,29.4,-75.525), (33.53,-75.895,33.9,-75.525), (37.11,-75.895,37.48,-75.525), (40.53,-75.895,40.9,-75.525), (43.53,-75.895,43.9,-75.525), (51.625,-75.895,51.995,-75.525), (8.435,-75.71,8.575,-63.19), (11.855,-75.71,11.995,-59.875), (12.935,-75.71,13.075,-44.46), (19.935,-75.71,20.075,-53.825), (21.175,-75.71,21.315,-41.145), (22.935,-75.71,23.075,-72.555), (27.905,-75.71,28.045,-69.24), (29.145,-75.71,29.285,-63.19), (33.645,-75.71,33.785,-44.46), (37.225,-75.71,37.365,-50.51), (40.645,-75.71,40.785,-53.825), (43.645,-75.71,43.785,-72.555), (51.74,-75.71,51.88,2.79), (12.935,-35.095,13.075,2.79), (33.645,-35.095,33.785,2.79), (18.845,-31.78,18.985,4.79), (21.175,-31.78,21.315,3.79), (39.555,-31.78,39.695,4.79), (41.885,-31.78,42.025,2.79), (19.935,-25.73,20.075,2.79), (40.645,-25.73,40.785,2.79), (14.185,-22.415,14.325,4.79), (16.515,-22.415,16.655,2.79), (34.895,-22.415,35.035,4.79), (37.225,-22.415,37.365,3.79), (8.435,-16.365,8.575,2.79), (29.145,-16.365,29.285,2.79), (9.525,-13.05,9.665,4.79), (11.855,-13.05,11.995,3.79), (30.235,-13.05,30.375,4.79), (32.565,-13.05,32.705,2.79), (22.935,-7,23.075,2.79), (43.645,-7,43.785,2.79), (4.865,-3.685,5.005,4.79), (7.195,-3.685,7.335,2.79), (25.575,-3.685,25.715,4.79), (27.905,-3.685,28.045,3.79), (50.75,1.205,50.89,4.79), (7.08,2.605,7.45,2.975), (8.32,2.605,8.69,2.975), (12.82,2.605,13.19,2.975), (16.4,2.605,16.77,2.975), (19.82,2.605,20.19,2.975), (22.82,2.605,23.19,2.975), (29.03,2.605,29.4,2.975), (32.45,2.605,32.82,2.975), (33.53,2.605,33.9,2.975), (40.53,2.605,40.9,2.975), (41.77,2.605,42.14,2.975), (43.53,2.605,43.9,2.975), (51.625,2.605,51.995,2.975), (11.74,3.605,12.11,3.975), (21.06,3.605,21.43,3.975), (27.79,3.605,28.16,3.975), (37.11,3.605,37.48,3.975), (52.425,3.605,52.795,3.975), (50.635,4.605,51.005,4.975), (53.225,4.605,53.595,4.975)])
A(mirror, via2, 4.835, -77.81, 0.2, 0.2, 4, 2, 4.66, 82.5)
A(mirror, via2, 25.545, -77.81, 0.2, 0.2, 4, 2, 4.66, 82.5)
R(mirror, via2, [(53.31,-77.81,53.51,-77.61), (7.165,-76.81,7.365,-76.61), (16.485,-76.81,16.685,-76.61), (32.535,-76.81,32.735,-76.61), (41.855,-76.81,42.055,-76.61), (52.51,-76.81,52.71,-76.61), (8.405,-75.81,8.605,-75.61), (11.825,-75.81,12.025,-75.61), (12.905,-75.81,13.105,-75.61), (19.905,-75.81,20.105,-75.61), (21.145,-75.81,21.345,-75.61), (22.905,-75.81,23.105,-75.61), (27.875,-75.81,28.075,-75.61), (29.115,-75.81,29.315,-75.61), (33.615,-75.81,33.815,-75.61), (37.195,-75.81,37.395,-75.61), (40.615,-75.81,40.815,-75.61), (43.615,-75.81,43.815,-75.61), (51.71,-75.81,51.91,-75.61), (7.165,2.69,7.365,2.89), (8.405,2.69,8.605,2.89), (12.905,2.69,13.105,2.89), (16.485,2.69,16.685,2.89), (19.905,2.69,20.105,2.89), (22.905,2.69,23.105,2.89), (29.115,2.69,29.315,2.89), (32.535,2.69,32.735,2.89), (33.615,2.69,33.815,2.89), (40.615,2.69,40.815,2.89), (41.855,2.69,42.055,2.89), (43.615,2.69,43.815,2.89), (51.71,2.69,51.91,2.89), (11.825,3.69,12.025,3.89), (21.145,3.69,21.345,3.89), (27.875,3.69,28.075,3.89), (37.195,3.69,37.395,3.89), (52.51,3.69,52.71,3.89), (50.72,4.69,50.92,4.89), (53.31,4.69,53.51,4.89)])
A(mirror, met3, -1.79, -77.91, 56.6, 0.4, 1, 3, 0, 1)
A(mirror, met3, 4.735, -77.91, 0.4, 0.4, 4, 2, 4.66, 82.5)
A(mirror, met3, 25.445, -77.91, 0.4, 0.4, 4, 2, 4.66, 82.5)
A(mirror, met3, -1.79, 2.59, 56.6, 0.4, 1, 3, 0, 1)
R(mirror, met3, [(53.21,-77.91,53.61,-77.51), (7.065,-76.91,7.465,-76.51), (16.385,-76.91,16.785,-76.51), (32.435,-76.91,32.835,-76.51), (41.755,-76.91,42.155,-76.51), (52.41,-76.91,52.81,-76.51), (8.305,-75.91,8.705,-75.51), (11.725,-75.91,12.125,-75.51), (12.805,-75.91,13.205,-75.51), (19.805,-75.91,20.205,-75.51), (21.045,-75.91,21.445,-75.51), (22.805,-75.91,23.205,-75.51), (27.775,-75.91,28.175,-75.51), (29.015,-75.91,29.415,-75.51), (33.515,-75.91,33.915,-75.51), (37.095,-75.91,37.495,-75.51), (40.515,-75.91,40.915,-75.51), (43.515,-75.91,43.915,-75.51), (51.61,-75.91,52.01,-75.51), (7.065,2.59,7.465,2.99), (8.305,2.59,8.705,2.99), (12.805,2.59,13.205,2.99), (16.385,2.59,16.785,2.99), (19.805,2.59,20.205,2.99), (22.805,2.59,23.205,2.99), (29.015,2.59,29.415,2.99), (32.435,2.59,32.835,2.99), (33.515,2.59,33.915,2.99), (40.515,2.59,40.915,2.99), (41.755,2.59,42.155,2.99), (43.515,2.59,43.915,2.99), (51.61,2.59,52.01,2.99), (11.725,3.59,12.125,3.99), (21.045,3.59,21.445,3.99), (27.775,3.59,28.175,3.99), (37.095,3.59,37.495,3.99), (52.41,3.59,52.81,3.99), (50.62,4.59,51.02,4.99), (53.21,4.59,53.61,4.99)])
A(mirror, nsdm, -1.205, -64.885, 51.63, 0.66, 1, 7, 0, 9.365)
mirror.add(gdstk.Reference(unnamed_e09b1c34, (14.255,-3.685)))
mirror.add(gdstk.Reference(unnamed_e09b1c34, (34.965,-3.685)))
mirror.add(gdstk.Reference(unnamed_e09b1c34, (14.255,-13.05)))
mirror.add(gdstk.Reference(unnamed_e09b1c34, (34.965,-13.05)))
mirror.add(gdstk.Reference(unnamed_e09b1c34, (14.255,-22.415)))
mirror.add(gdstk.Reference(unnamed_e09b1c34, (34.965,-22.415)))
mirror.add(gdstk.Reference(unnamed_e09b1c34, (14.255,-31.78)))
mirror.add(gdstk.Reference(unnamed_e09b1c34, (34.965,-31.78)))
mirror.add(gdstk.Reference(unnamed_e09b1c34, (14.255,-41.145)))
mirror.add(gdstk.Reference(unnamed_e09b1c34, (34.965,-41.145)))
mirror.add(gdstk.Reference(unnamed_e09b1c34, (14.255,-50.51)))
mirror.add(gdstk.Reference(unnamed_e09b1c34, (34.965,-50.51)))
mirror.add(gdstk.Reference(unnamed_e09b1c34, (14.255,-59.875)))
mirror.add(gdstk.Reference(unnamed_e09b1c34, (34.965,-59.875)))
mirror.add(gdstk.Reference(unnamed_e09b1c34, (14.255,-69.24)))
mirror.add(gdstk.Reference(unnamed_e09b1c34, (34.965,-69.24)))
mirror.add(gdstk.Reference(unnamed_fc9d1d9a, (1.7,-3.685)))
mirror.add(gdstk.Reference(unnamed_fc9d1d9a, (47.52,-3.685)))
mirror.add(gdstk.Reference(unnamed_fc9d1d9a, (1.7,-13.05)))
mirror.add(gdstk.Reference(unnamed_fc9d1d9a, (47.52,-13.05)))
mirror.add(gdstk.Reference(unnamed_fc9d1d9a, (1.7,-22.415)))
mirror.add(gdstk.Reference(unnamed_fc9d1d9a, (47.52,-22.415)))
mirror.add(gdstk.Reference(unnamed_fc9d1d9a, (1.7,-31.78)))
mirror.add(gdstk.Reference(unnamed_fc9d1d9a, (47.52,-31.78)))
mirror.add(gdstk.Reference(unnamed_fc9d1d9a, (1.7,-41.145)))
mirror.add(gdstk.Reference(unnamed_fc9d1d9a, (47.52,-41.145)))
mirror.add(gdstk.Reference(unnamed_fc9d1d9a, (1.7,-50.51)))
mirror.add(gdstk.Reference(unnamed_fc9d1d9a, (47.52,-50.51)))
mirror.add(gdstk.Reference(unnamed_fc9d1d9a, (1.7,-59.875)))
mirror.add(gdstk.Reference(unnamed_fc9d1d9a, (47.52,-59.875)))
mirror.add(gdstk.Reference(unnamed_fc9d1d9a, (1.7,-69.24)))
mirror.add(gdstk.Reference(unnamed_fc9d1d9a, (47.52,-69.24)))
mirror.add(gdstk.Reference(unnamed_3b2aca07_1, (24.61,-36.46)))
mirror.add(gdstk.Reference(via_stack_9ce972bd_8, (-1.205,-3.685)))
mirror.add(gdstk.Reference(via_stack_9ce972bd_9, (50.425,-3.685)))
mirror.add(gdstk.Reference(via_stack_9ce972bd_10, (-1.205,-13.05)))
mirror.add(gdstk.Reference(via_stack_9ce972bd_11, (50.425,-13.05)))
mirror.add(gdstk.Reference(via_stack_9ce972bd_12, (-1.205,-22.415)))
mirror.add(gdstk.Reference(via_stack_9ce972bd_13, (50.425,-22.415)))
mirror.add(gdstk.Reference(via_stack_9ce972bd_14, (-1.205,-31.78)))
mirror.add(gdstk.Reference(via_stack_9ce972bd_15, (50.425,-31.78)))
mirror.add(gdstk.Reference(via_stack_9ce972bd_16, (-1.205,-41.145)))
mirror.add(gdstk.Reference(via_stack_9ce972bd_17, (50.425,-41.145)))
mirror.add(gdstk.Reference(via_stack_9ce972bd_18, (-1.205,-50.51)))
mirror.add(gdstk.Reference(via_stack_9ce972bd_19, (50.425,-50.51)))
mirror.add(gdstk.Reference(via_stack_9ce972bd_20, (-1.205,-59.875)))
mirror.add(gdstk.Reference(via_stack_9ce972bd_21, (50.425,-59.875)))
mirror.add(gdstk.Reference(via_stack_9ce972bd_22, (-1.205,-69.24)))
mirror.add(gdstk.Reference(via_stack_9ce972bd_23, (50.425,-69.24)))
mirror.add(gdstk.Reference(via_stack_22ee024c, (7.265,-3.685)))
mirror.add(gdstk.Reference(via_stack_22ee024c_1, (4.935,-3.685)))
mirror.add(gdstk.Reference(via_stack_22ee024c_2, (23.005,-7)))
mirror.add(gdstk.Reference(via_stack_22ee024c_3, (11.925,-13.05)))
mirror.add(gdstk.Reference(via_stack_22ee024c_4, (9.595,-13.05)))
mirror.add(gdstk.Reference(via_stack_22ee024c_5, (8.505,-16.365)))
mirror.add(gdstk.Reference(via_stack_22ee024c_6, (16.585,-22.415)))
mirror.add(gdstk.Reference(via_stack_22ee024c_7, (14.255,-22.415)))
mirror.add(gdstk.Reference(via_stack_22ee024c_8, (20.005,-25.73)))
mirror.add(gdstk.Reference(via_stack_22ee024c_9, (21.245,-31.78)))
mirror.add(gdstk.Reference(via_stack_22ee024c_10, (18.915,-31.78)))
mirror.add(gdstk.Reference(via_stack_22ee024c_11, (13.005,-35.095)))
mirror.add(gdstk.Reference(via_stack_22ee024c_12, (7.265,-69.24)))
mirror.add(gdstk.Reference(via_stack_22ee024c_13, (4.935,-69.24)))
mirror.add(gdstk.Reference(via_stack_22ee024c_14, (23.005,-72.555)))
mirror.add(gdstk.Reference(via_stack_22ee024c_15, (11.925,-59.875)))
mirror.add(gdstk.Reference(via_stack_22ee024c_16, (9.595,-59.875)))
mirror.add(gdstk.Reference(via_stack_22ee024c_17, (8.505,-63.19)))
mirror.add(gdstk.Reference(via_stack_22ee024c_18, (16.585,-50.51)))
mirror.add(gdstk.Reference(via_stack_22ee024c_19, (14.255,-50.51)))
mirror.add(gdstk.Reference(via_stack_22ee024c_20, (20.005,-53.825)))
mirror.add(gdstk.Reference(via_stack_22ee024c_21, (21.245,-41.145)))
mirror.add(gdstk.Reference(via_stack_22ee024c_22, (18.915,-41.145)))
mirror.add(gdstk.Reference(via_stack_22ee024c_23, (13.005,-44.46)))
mirror.add(gdstk.Reference(via_stack_22ee024c_24, (27.975,-3.685)))
mirror.add(gdstk.Reference(via_stack_22ee024c_25, (25.645,-3.685)))
mirror.add(gdstk.Reference(via_stack_22ee024c_26, (43.715,-7)))
mirror.add(gdstk.Reference(via_stack_22ee024c_27, (32.635,-13.05)))
mirror.add(gdstk.Reference(via_stack_22ee024c_28, (30.305,-13.05)))
mirror.add(gdstk.Reference(via_stack_22ee024c_29, (29.215,-16.365)))
mirror.add(gdstk.Reference(via_stack_22ee024c_30, (37.295,-22.415)))
mirror.add(gdstk.Reference(via_stack_22ee024c_31, (34.965,-22.415)))
mirror.add(gdstk.Reference(via_stack_22ee024c_32, (40.715,-25.73)))
mirror.add(gdstk.Reference(via_stack_22ee024c_33, (41.955,-31.78)))
mirror.add(gdstk.Reference(via_stack_22ee024c_34, (39.625,-31.78)))
mirror.add(gdstk.Reference(via_stack_22ee024c_35, (33.715,-35.095)))
mirror.add(gdstk.Reference(via_stack_22ee024c_36, (27.975,-69.24)))
mirror.add(gdstk.Reference(via_stack_22ee024c_37, (25.645,-69.24)))
mirror.add(gdstk.Reference(via_stack_22ee024c_38, (43.715,-72.555)))
mirror.add(gdstk.Reference(via_stack_22ee024c_39, (32.635,-59.875)))
mirror.add(gdstk.Reference(via_stack_22ee024c_40, (30.305,-59.875)))
mirror.add(gdstk.Reference(via_stack_22ee024c_41, (29.215,-63.19)))
mirror.add(gdstk.Reference(via_stack_22ee024c_42, (37.295,-50.51)))
mirror.add(gdstk.Reference(via_stack_22ee024c_43, (34.965,-50.51)))
mirror.add(gdstk.Reference(via_stack_22ee024c_44, (40.715,-53.825)))
mirror.add(gdstk.Reference(via_stack_22ee024c_45, (41.955,-41.145)))
mirror.add(gdstk.Reference(via_stack_22ee024c_46, (39.625,-41.145)))
mirror.add(gdstk.Reference(via_stack_22ee024c_47, (33.715,-44.46)))
mirror.add(gdstk.Reference(via_stack_22ee024c_48, (50.82,1.205)))

lib.write_gds('mirror.gds')
